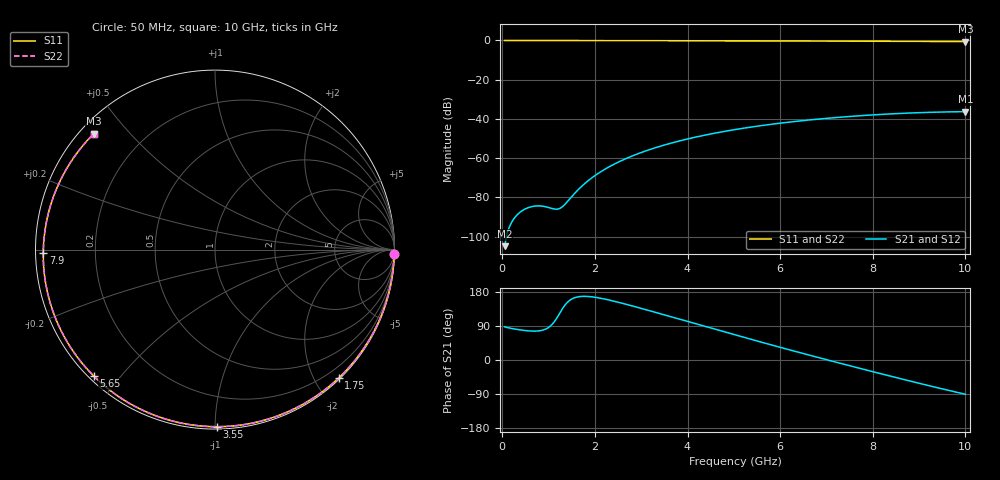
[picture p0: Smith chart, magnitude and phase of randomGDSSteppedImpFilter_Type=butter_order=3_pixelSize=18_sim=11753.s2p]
! freq	dB(S11)	phase(S11)	dB(S12)	phase(S12)
!  dB(S21)	phase(S21)	dB(S22)	phase(S22)
!S-par simulation data
#  GHz  S  DB  R 50
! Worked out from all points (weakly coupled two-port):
!   200 points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, 50 MHz to 10 GHz, reference 50 ohm
!   highest |S21| = -36.27 dB at 10 GHz (marker M1); lowest = -104.8 dB at 50 MHz (marker M2)
!   lowest |S11| = -0.6 dB at 10 GHz (marker M3), VSWR 29.31, Z = 1.98 + j20.1 ohm
!   |S11| at or under -10 dB: nowhere
!   |S22| runs from -0.6 to 0.0 dB; largest |S21 - S12| = 0
!   S11 on the Smith chart (normalised r, x): 50 MHz: 2, -88; 1.75 GHz: 0.02, -2.35; 3.55 GHz: 0.01, -1.01; 5.65 GHz: 0.01, -0.43; 7.9 GHz: 0.02, -0.01; 10 GHz: 0.04, +0.40
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0.05  -0.00 -1.3  -104.81 87.7  -104.81 87.7  -0.00 -1.3
0.4  -0.02 -10.7  -87.22 79.2  -87.22 79.2  -0.02 -10.8
0.75  -0.03 -20.1  -84.30 76.4  -84.30 76.4  -0.03 -20.1
1.45  -0.05 -38.5  -80.93 156.9  -80.93 156.9  -0.05 -38.5
1.5  -0.05 -39.8  -79.57 160.9  -79.57 160.9  -0.05 -39.8
1.75  -0.06 -46.1  -73.53 168.0  -73.53 168.0  -0.06 -46.2
2.05  -0.07 -53.7  -68.06 164.6  -68.06 164.6  -0.07 -53.7
2.45  -0.08 -63.5  -62.62 154.0  -62.62 154.0  -0.08 -63.6
2.9  -0.09 -74.3  -57.98 139.6  -57.98 139.6  -0.09 -74.3
3.4  -0.11 -85.9  -53.97 122.5  -53.97 122.5  -0.11 -85.9
3.55  -0.11 -89.3  -52.94 117.3  -52.94 117.3  -0.11 -89.3
4.25  -0.14 -104.8  -48.86 92.9  -48.86 92.9  -0.14 -104.8
5.05  -0.18 -121.6  -45.31 65.4  -45.31 65.4  -0.18 -121.7
5.65  -0.21 -133.9  -43.21 45.1  -43.21 45.1  -0.21 -133.9
6.2  -0.25 -144.9  -41.59 26.9  -41.59 26.9  -0.25 -145.0
6.7  -0.28 -154.9  -40.35 10.5  -40.35 10.5  -0.28 -154.9
7.3  -0.33 -166.8  -39.10 -8.7  -39.10 -8.7  -0.33 -166.8
7.9  -0.38 -178.8  -38.08 -27.7  -38.08 -27.7  -0.38 -178.9
8.35  -0.42 172.0  -37.46 -41.7  -37.46 -41.7  -0.42 171.9
9.15  -0.50 155.1  -36.68 -65.9  -36.68 -65.9  -0.50 155.1
9.55  -0.55 146.4  -36.43 -77.6  -36.43 -77.6  -0.55 146.3
10  -0.59 136.2  -36.27 -90.4  -36.27 -90.4  -0.59 136.2
